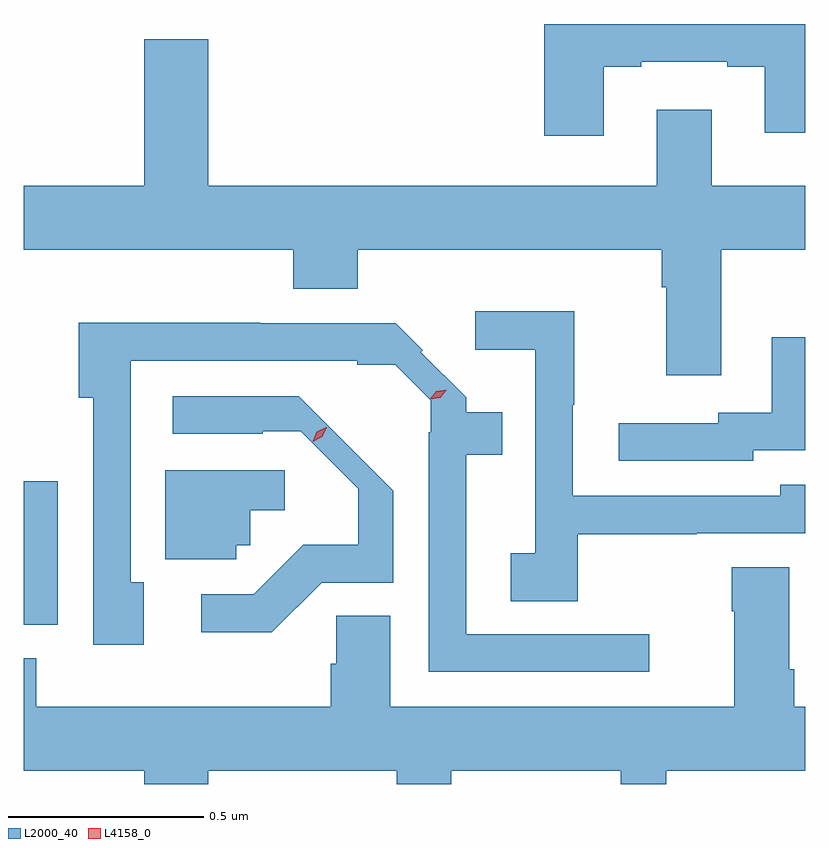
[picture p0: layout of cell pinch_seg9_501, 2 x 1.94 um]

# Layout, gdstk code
import gdstk
lib = gdstk.Library(unit=1e-6, precision=1e-09)
def R(c, l, rs):  # rectangles x0, y0, x1, y1
    for r in rs: c.add(gdstk.rectangle(r[:2], r[2:], *l))
def P(c, l, *ps):  # polygons
    for p in ps: c.add(gdstk.Polygon(p, *l))
L2000_40 = (2000, 40)
L4158_0 = (4158, 0)

pinch_seg9_501 = lib.new_cell('pinch_seg9_501')
R(pinch_seg9_501, L2000_40, [(380.483,1203.453,380.571,1203.82)])
P(pinch_seg9_501, L2000_40, [(381.967,1204.881),(382.063,1204.881),(382.063,1204.893),(382.283,1204.893),(382.283,1204.881),(382.379,1204.881),(382.379,1204.712),(382.483,1204.712),(382.483,1204.99),(381.815,1204.99),(381.815,1204.704),(381.967,1204.704)],
  [(382.267,1204.412),(382.483,1204.412),(382.483,1204.576),(382.243,1204.576),(382.243,1204.771),(382.103,1204.771),(382.103,1204.576),(380.956,1204.576),(380.956,1204.951),(380.792,1204.951),(380.792,1204.576),(380.483,1204.576),(380.483,1204.412),(381.173,1204.412),(381.173,1204.313),(381.338,1204.313),(381.338,1204.412),(382.115,1204.412),(382.115,1204.316),(382.127,1204.316),(382.127,1204.092),(382.267,1204.092)],
  [(381.901,1203.685),(382.205,1203.685),(382.205,1203.687),(382.483,1203.687),(382.483,1203.811),(382.419,1203.811),(382.419,1203.783),(381.888,1203.783),(381.888,1204.016),(381.891,1204.016),(381.891,1204.255),(381.639,1204.255),(381.639,1204.157),(381.792,1204.157),(381.792,1203.636),(381.729,1203.636),(381.729,1203.514),(381.901,1203.514)],
  [(382.084,1203.429),(381.616,1203.429),(381.616,1203.888),(381.707,1203.888),(381.707,1203.997),(381.615,1203.997),(381.615,1204.035),(381.499,1204.151),(381.504,1204.155),(381.435,1204.224),(381.089,1204.224),(381.089,1204.226),(380.624,1204.226),(380.624,1204.034),(380.661,1204.034),(380.661,1203.402),(380.791,1203.402),(380.791,1203.562),(380.757,1203.562),(380.757,1204.128),(381.337,1204.128),(381.337,1204.118),(381.434,1204.118),(381.524,1204.027),(381.524,1203.946),(381.519,1203.946),(381.519,1203.333),(382.084,1203.333)],
  [(382.35,1203.9),(382.483,1203.9),(382.483,1204.189),(382.397,1204.189),(382.397,1203.996),(382.26,1203.996),(382.26,1203.969),(382.005,1203.969),(382.005,1203.873),(382.35,1203.873)],
  [(381.246,1203.561),(381.429,1203.561),(381.429,1203.796),(381.187,1204.038),(380.865,1204.038),(380.865,1203.942),(381.095,1203.942),(381.095,1203.948),(381.192,1203.948),(381.339,1203.801),(381.339,1203.658),(381.199,1203.658),(381.072,1203.531),(380.937,1203.531),(380.937,1203.434),(381.118,1203.434)],
  [(381.027,1203.657),(381.063,1203.657),(381.063,1203.746),(381.151,1203.746),(381.151,1203.849),(380.846,1203.849),(380.846,1203.621),(381.027,1203.621)],
  [(380.956,1203.08),(381.437,1203.08),(381.437,1203.046),(381.577,1203.046),(381.577,1203.08),(382.011,1203.08),(382.011,1203.046),(382.127,1203.046),(382.127,1203.08),(382.483,1203.08),(382.483,1203.244),(382.454,1203.244),(382.454,1203.34),(382.441,1203.34),(382.441,1203.601),(382.294,1203.601),(382.294,1203.488),(382.301,1203.488),(382.301,1203.244),(381.421,1203.244),(381.421,1203.476),(381.283,1203.476),(381.283,1203.354),(381.269,1203.354),(381.269,1203.244),(380.516,1203.244),(380.516,1203.368),(380.483,1203.368),(380.483,1203.08),(380.792,1203.08),(380.792,1203.046),(380.956,1203.046)])
P(pinch_seg9_501, L4158_0, [(381.523,1204.03),(381.523,1204.03),(381.523,1204.031),(381.539,1204.051),(381.565,1204.055),(381.565,1204.054),(381.565,1204.054),(381.549,1204.034)],
  [(381.223,1203.921),(381.223,1203.921),(381.233,1203.947),(381.257,1203.959),(381.258,1203.959),(381.258,1203.959),(381.247,1203.934),(381.223,1203.921)])

lib.write_gds('pinch_seg9_501.gds')
